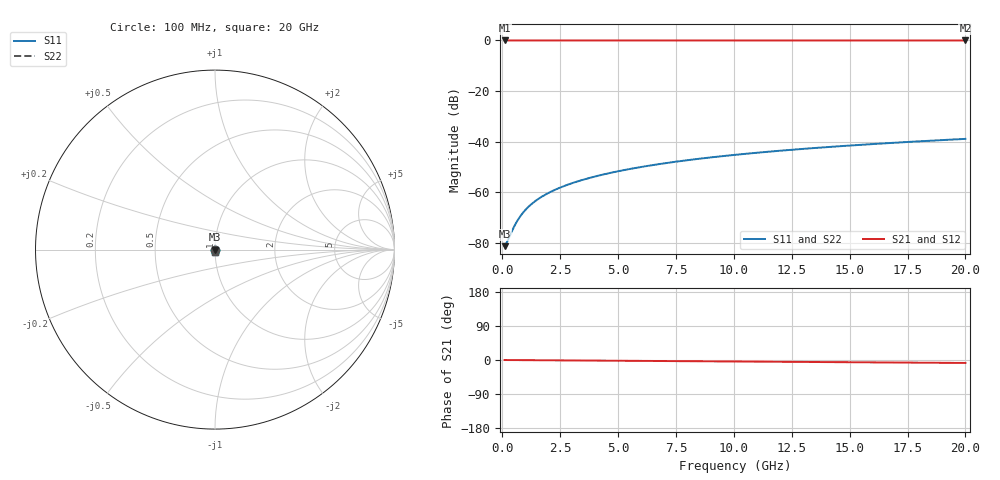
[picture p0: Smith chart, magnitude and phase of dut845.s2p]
! Touchstone file exported from HFSS 2026.1.0
!  File:  C:/ffzhzh/LocalFiles/Ansys_Project_Files/temp_train_TSV_845_1783185027_51560.aedt
!  Generated:  01:11:53 AM Jul  5, 2026
!  Design:  TSV
!  Project:  temp_train_TSV_845_1783185027_51560
! Variables:
!  h_bsmrdl = 2um
!  h_ox = 20um
!  h_rdl = 5um
!  h_sub = 77.5um
!  h_tmrdl = 5um
!  h_tsv = 77.5um
!  h_via = 3um
!  l_bsmrdl = 300um
!  l_sub = 426.18um
!  l_tmrdl = 200um
!  m_sub = 200um
!  pitch = 48.14um
!  r_tsv = 13.09um
!  s_tmrdl = 10um
!  w_bsmrdl = 18um
!  w_sub = 500um
!  w_tmrdl = 12um
!  x_tsv_center1 = 206um
!  x_tsv_center2 = 524um
!  x_tsv_center3 = 736um
!  x_tsv_center4 = 1054um
!  x_tsv_center5 = 1266um
!  x_tsv_center6 = 1584um
# GHz S MA R 50.000000
! Terminal data exported
! Port[1] = TSV1_1_T1
! Port[2] = TSV1_1_T2
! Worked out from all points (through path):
!   200 points, 100 MHz to 20 GHz, reference 50 ohm
!   highest |S21| = 0.00 dB at 100 MHz (marker M1); lowest = 0.0 dB at 20 GHz (marker M2)
!   group delay of S21, straight-line fit = 1.08 ps
!   lowest |S11| = -81.3 dB at 100 MHz (marker M3), VSWR 1.00, Z = 50 - j0.00158 ohm
!   |S11| at or under -10 dB: start of sweep to end of sweep
!   |S22| runs from -81.3 to -38.9 dB; largest |S21 - S12| = 5e-15
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0.1  8.611e-05 -10.6  0.9999 -0.0  0.9999 -0.0  8.611e-05 -10.6
! Gamma 0 0 0 0
! Port Impedance 50 0 50 0
0.2  0.0001035 -19.8  0.9999 -0.1  0.9999 -0.1  0.0001035 -19.8
0.5  0.0002059 -38.7  0.9998 -0.2  0.9998 -0.2  0.0002059 -38.7
0.6  0.0002505 -43.2  0.9998 -0.2  0.9998 -0.2  0.0002505 -43.2
0.8  0.0003472 -50.4  0.9998 -0.3  0.9998 -0.3  0.0003472 -50.4
1  0.0004489 -55.9  0.9997 -0.4  0.9997 -0.4  0.0004489 -55.9
1.3  0.0006049 -61.9  0.9997 -0.5  0.9997 -0.5  0.0006049 -61.9
1.5  0.0007097 -64.8  0.9997 -0.6  0.9997 -0.6  0.0007097 -64.8
1.7  0.0008148 -67.2  0.9997 -0.7  0.9997 -0.7  0.0008148 -67.2
2.2  0.001079 -71.4  0.9996 -0.9  0.9996 -0.9  0.001079 -71.4
2.8  0.001398 -74.6  0.9996 -1.1  0.9996 -1.1  0.001398 -74.6
3.5  0.001775 -77.1  0.9996 -1.4  0.9996 -1.4  0.001775 -77.1
4.2  0.002158 -78.8  0.9995 -1.7  0.9995 -1.7  0.002158 -78.8
5  0.002602 -80.4  0.9995 -2.0  0.9995 -2.0  0.002602 -80.4
5.9  0.003108 -81.7  0.9994 -2.3  0.9994 -2.3  0.003108 -81.7
6.8  0.00362 -82.9  0.9994 -2.7  0.9994 -2.7  0.00362 -82.9
8.3  0.004481 -84.5  0.9993 -3.3  0.9993 -3.3  0.004481 -84.5
10.1  0.005523 -86.1  0.9992 -4.0  0.9992 -4.0  0.005523 -86.2
11.7  0.006454 -87.4  0.9992 -4.6  0.9992 -4.6  0.006454 -87.4
13.4  0.007447 -88.6  0.9991 -5.2  0.9991 -5.2  0.007447 -88.6
16.7  0.009387 -90.7  0.999 -6.5  0.999 -6.5  0.009387 -90.7
20  0.01135 -92.5  0.9989 -7.8  0.9989 -7.8  0.01135 -92.5
